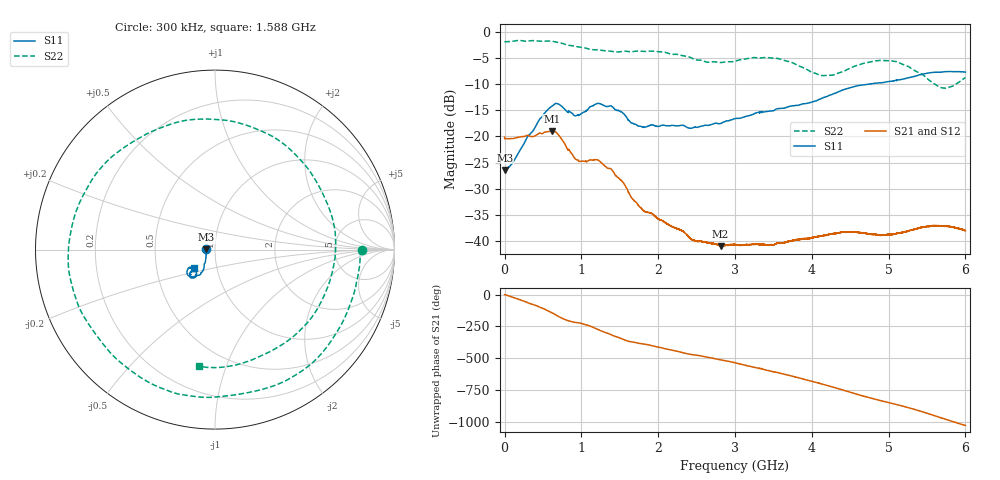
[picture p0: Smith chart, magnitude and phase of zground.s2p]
!  8/6/2020  01:31:49
! Ref Plane: 0.000 mm
# MHZ S MA R  50
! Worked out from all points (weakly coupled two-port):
!   10001 points, 300 kHz to 6 GHz, reference 50 ohm
!   highest |S21| = -19.03 dB at 612.9 MHz (marker M1); lowest = -41.0 dB at 2.812 GHz (marker M2)
!   lowest |S11| = -26.4 dB at 900 kHz (marker M3), VSWR 1.10, Z = 45.4 + j0.0872 ohm
!   |S11| at or under -10 dB: start of sweep to 4.731 GHz
!   |S22| runs from -10.8 to -1.6 dB; largest |S21 - S12| = 0.0021
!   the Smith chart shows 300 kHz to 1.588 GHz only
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0.3  0.04788 178.2  0.09873 -1.0  0.0966 -0.9  0.8163 -0.3
0.9  0.0477 178.8  0.09486 -0.5  0.09541 -0.3  0.8104 -0.5
315.8842  0.1031 -126.3  0.1019 -68.3  0.102 -68.3  0.824 -92.2
612.8694  0.1945 -128.9  0.1118 -142.2  0.1118 -142.2  0.8196 -176.6
813.8593  0.173 -145.1  0.07687 156.7  0.07702 156.7  0.7528 125.3
1000.45  0.1656 -128.4  0.0579 132.5  0.05788 132.5  0.7134 74.0
1255.437  0.2045 -133.7  0.05653 74.3  0.05654 74.3  0.6715 -1.5
1541.023  0.168 -138.1  0.03636 8.6  0.03637 8.4  0.6555 -84.9
1785.211  0.1241 -120.5  0.02029 -27.4  0.02031 -27.3  0.655 -151.0
2000.6  0.1248 -106.2  0.01623 -53.8  0.01622 -53.8  0.6495 153.6
2249.588  0.1264 -93.5  0.01299 -86.8  0.01304 -86.7  0.6117 89.3
2496.775  0.1223 -78.4  0.009947 -116.3  0.009921 -116.4  0.5403 20.4
2812.359  0.1332 -60.4  0.008872 -153.2  0.008928 -153.5  0.5117 -76.9
3000.15  0.1482 -50.5  0.009064 -176.6  0.00915 -176.3  0.5267 -133.1
3238.338  0.163 -41.7  0.009227 149.1  0.009211 149.1  0.5699 164.7
3525.124  0.1808 -30.4  0.009285 110.6  0.009301 110.5  0.5622 96.4
4000.3  0.2135 -11.8  0.01071 37.8  0.01068 38.1  0.4138 -30.0
4219.289  0.2465 -3.7  0.01145 1.7  0.0115 1.6  0.3856 -104.8
4485.076  0.2917 0.1  0.01214 -45.1  0.01215 -45.5  0.4474 171.4
5000.45  0.336 5.6  0.0115 -129.5  0.01149 -129.5  0.5304 51.1
5508.025  0.4044 10.2  0.0137 145.1  0.0137 145.1  0.356 -72.3
6000  0.4145 6.0  0.01246 50.9  0.01251 50.7  0.3679 115.5
